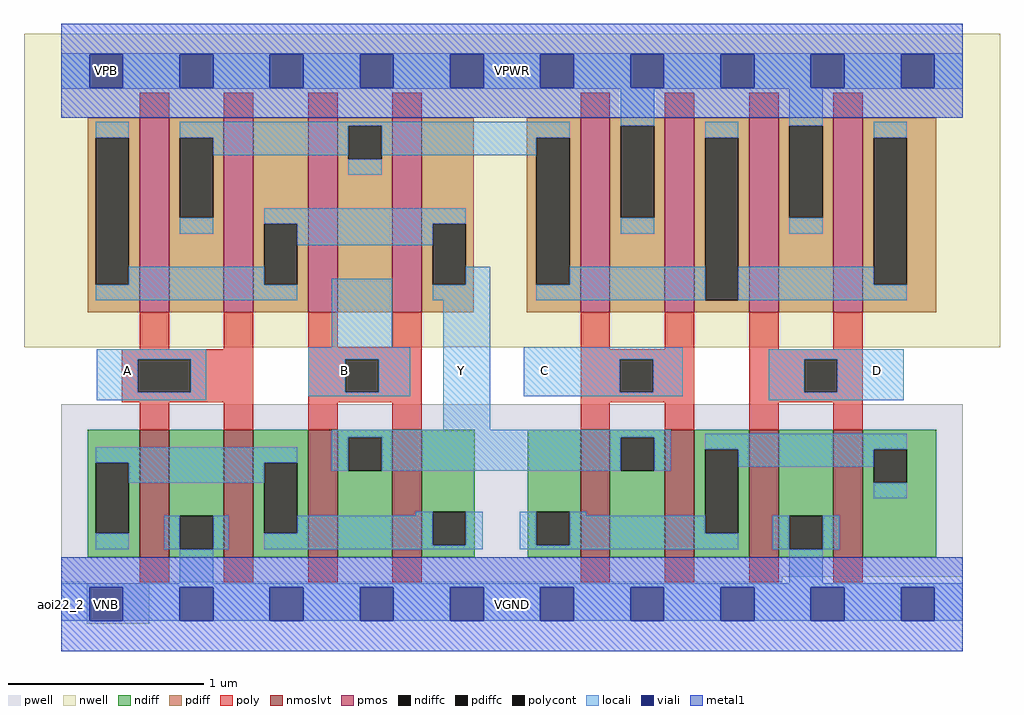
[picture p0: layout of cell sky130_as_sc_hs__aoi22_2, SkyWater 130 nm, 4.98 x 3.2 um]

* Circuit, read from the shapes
.subckt sky130_as_sc_hs__aoi22_2 VNB VPB VPWR VGND A B C D Y
XM1 VGND A n1 VNB sky130_fd_pr__nfet_01v8_lvt w=0.65 l=0.15 m=2
XM2 Y B n1 VNB sky130_fd_pr__nfet_01v8_lvt w=0.65 l=0.15 m=2
XM3 Y C n2 VNB sky130_fd_pr__nfet_01v8_lvt w=0.65 l=0.15 m=2
XM4 VGND D n2 VNB sky130_fd_pr__nfet_01v8_lvt w=0.65 l=0.15 m=2
XM5 n3 A Y VPB sky130_fd_pr__pfet_01v8 w=0.99 l=0.15 m=2
XM6 n3 B Y VPB sky130_fd_pr__pfet_01v8 w=0.99 l=0.15 m=2
XM7 VPWR C n3 VPB sky130_fd_pr__pfet_01v8 w=0.99 l=0.15 m=2
XM8 VPWR D n3 VPB sky130_fd_pr__pfet_01v8 w=0.99 l=0.15 m=2
.ends

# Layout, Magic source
magic
tech sky130A
magscale 1 2
<< nwell >>
rect -38 262 958 582
<< pwell >>
rect 0 28 920 204
rect 0 22 736 28
rect 26 -20 90 22
<< pmos >>
rect 80 298 110 496
rect 166 298 196 496
rect 252 298 282 496
rect 338 298 368 496
rect 530 298 560 496
rect 616 298 646 496
rect 702 298 732 496
rect 788 298 818 496
<< nmoslvt >>
rect 80 48 110 178
rect 166 48 196 178
rect 252 48 282 178
rect 338 48 368 178
rect 530 48 560 178
rect 616 48 646 178
rect 702 48 732 178
rect 788 48 818 178
<< ndiff >>
rect 27 144 80 178
rect 27 72 35 144
rect 69 72 80 144
rect 27 48 80 72
rect 110 90 166 178
rect 110 56 121 90
rect 155 56 166 90
rect 110 48 166 56
rect 196 144 252 178
rect 196 72 207 144
rect 241 72 252 144
rect 196 48 252 72
rect 282 170 338 178
rect 282 136 293 170
rect 327 136 338 170
rect 282 48 338 136
rect 368 94 422 178
rect 368 60 379 94
rect 413 60 422 94
rect 368 48 422 60
rect 476 94 530 178
rect 476 60 485 94
rect 519 60 530 94
rect 476 48 530 60
rect 560 170 616 178
rect 560 136 571 170
rect 605 136 616 170
rect 560 48 616 136
rect 646 158 702 178
rect 646 72 657 158
rect 691 72 702 158
rect 646 48 702 72
rect 732 90 788 178
rect 732 56 743 90
rect 777 56 788 90
rect 732 48 788 56
rect 818 158 893 178
rect 818 124 829 158
rect 863 124 893 158
rect 818 48 893 124
<< pdiff >>
rect 27 476 80 496
rect 27 326 35 476
rect 69 326 80 476
rect 27 298 80 326
rect 110 476 166 496
rect 110 394 121 476
rect 155 394 166 476
rect 110 298 166 394
rect 196 388 252 496
rect 196 326 207 388
rect 241 326 252 388
rect 196 298 252 326
rect 282 488 338 496
rect 282 454 293 488
rect 327 454 338 488
rect 282 298 338 454
rect 368 388 421 496
rect 368 326 379 388
rect 413 326 421 388
rect 368 298 421 326
rect 475 476 530 496
rect 475 326 485 476
rect 519 326 530 476
rect 475 298 530 326
rect 560 488 616 496
rect 560 394 571 488
rect 605 394 616 488
rect 560 298 616 394
rect 646 476 702 496
rect 646 310 657 476
rect 691 310 702 476
rect 646 298 702 310
rect 732 488 788 496
rect 732 394 743 488
rect 777 394 788 488
rect 732 298 788 394
rect 818 476 893 496
rect 818 326 829 476
rect 863 326 893 476
rect 818 298 893 326
<< ndiffc >>
rect 35 72 69 144
rect 121 56 155 90
rect 207 72 241 144
rect 293 136 327 170
rect 379 60 413 94
rect 485 60 519 94
rect 571 136 605 170
rect 657 72 691 158
rect 743 56 777 90
rect 829 124 863 158
<< pdiffc >>
rect 35 326 69 476
rect 121 394 155 476
rect 207 326 241 388
rect 293 454 327 488
rect 379 326 413 388
rect 485 326 519 476
rect 571 394 605 488
rect 657 310 691 476
rect 743 394 777 488
rect 829 326 863 476
<< poly >>
rect 80 496 110 522
rect 166 496 196 522
rect 252 496 282 522
rect 338 496 368 522
rect 530 496 560 522
rect 616 496 646 522
rect 702 496 732 522
rect 788 496 818 522
rect 80 260 110 298
rect 166 260 196 298
rect 62 250 196 260
rect 62 216 78 250
rect 132 216 196 250
rect 62 206 196 216
rect 80 178 110 206
rect 166 178 196 206
rect 252 262 282 298
rect 338 262 368 298
rect 252 250 368 262
rect 252 216 290 250
rect 324 216 368 250
rect 252 206 368 216
rect 252 178 282 206
rect 338 178 368 206
rect 530 260 560 298
rect 616 260 646 298
rect 530 250 646 260
rect 530 216 570 250
rect 604 216 646 250
rect 530 206 646 216
rect 530 178 560 206
rect 616 178 646 206
rect 702 260 732 298
rect 788 260 818 298
rect 702 250 818 260
rect 702 216 758 250
rect 792 216 818 250
rect 702 206 818 216
rect 702 178 732 206
rect 788 178 818 206
rect 80 22 110 48
rect 166 22 196 48
rect 252 22 282 48
rect 338 22 368 48
rect 530 22 560 48
rect 616 22 646 48
rect 702 22 732 48
rect 788 22 818 48
<< polycont >>
rect 78 216 132 250
rect 290 216 324 250
rect 570 216 604 250
rect 758 216 792 250
<< locali >>
rect 0 561 920 562
rect 0 527 29 561
rect 63 527 121 561
rect 155 527 213 561
rect 247 527 305 561
rect 339 527 397 561
rect 431 527 489 561
rect 523 527 581 561
rect 615 527 673 561
rect 707 527 765 561
rect 799 527 857 561
rect 891 527 920 561
rect 0 526 920 527
rect 35 476 69 492
rect 121 488 519 492
rect 121 476 293 488
rect 155 458 293 476
rect 327 476 519 488
rect 327 458 485 476
rect 293 438 327 454
rect 121 378 155 394
rect 207 388 413 404
rect 69 326 207 344
rect 241 366 379 388
rect 35 310 241 326
rect 276 262 338 332
rect 413 326 438 344
rect 379 310 438 326
rect 571 488 605 526
rect 571 378 605 394
rect 657 476 691 492
rect 519 326 657 344
rect 485 310 657 326
rect 743 488 777 526
rect 743 378 777 394
rect 829 476 863 492
rect 691 326 829 344
rect 691 310 863 326
rect 36 250 148 260
rect 36 216 78 250
rect 132 216 148 250
rect 36 208 148 216
rect 252 250 356 262
rect 252 216 290 250
rect 324 216 356 250
rect 252 212 356 216
rect 390 178 438 310
rect 472 250 634 262
rect 472 216 570 250
rect 604 216 634 250
rect 472 212 634 216
rect 722 250 860 260
rect 722 216 758 250
rect 792 216 860 250
rect 722 208 860 216
rect 276 170 622 178
rect 35 144 241 160
rect 69 124 207 144
rect 35 56 69 72
rect 105 56 121 90
rect 155 56 171 90
rect 276 136 293 170
rect 327 136 571 170
rect 605 136 622 170
rect 657 158 863 174
rect 362 90 379 94
rect 241 72 379 90
rect 207 60 379 72
rect 413 60 430 94
rect 207 56 430 60
rect 468 60 485 94
rect 519 90 536 94
rect 519 72 657 90
rect 691 140 829 158
rect 829 108 863 124
rect 519 60 691 72
rect 468 56 691 60
rect 726 56 743 90
rect 777 56 794 90
rect 121 21 155 56
rect 743 21 777 56
rect 0 17 920 21
rect 0 -17 29 17
rect 63 -17 121 17
rect 155 -17 213 17
rect 247 -17 305 17
rect 339 -17 397 17
rect 431 -17 489 17
rect 523 -17 581 17
rect 615 -17 673 17
rect 707 -17 765 17
rect 799 -17 857 17
rect 891 -17 920 17
<< viali >>
rect 29 527 63 561
rect 121 527 155 561
rect 213 527 247 561
rect 305 527 339 561
rect 397 527 431 561
rect 489 527 523 561
rect 581 527 615 561
rect 673 527 707 561
rect 765 527 799 561
rect 857 527 891 561
rect 29 -17 63 17
rect 121 -17 155 17
rect 213 -17 247 17
rect 305 -17 339 17
rect 397 -17 431 17
rect 489 -17 523 17
rect 581 -17 615 17
rect 673 -17 707 17
rect 765 -17 799 17
rect 857 -17 891 17
<< metal1 >>
rect 0 561 920 592
rect 0 527 29 561
rect 63 527 121 561
rect 155 527 213 561
rect 247 527 305 561
rect 339 527 397 561
rect 431 527 489 561
rect 523 527 581 561
rect 615 527 673 561
rect 707 527 765 561
rect 799 527 857 561
rect 891 527 920 561
rect 0 496 920 527
rect 0 17 920 48
rect 0 -17 29 17
rect 63 -17 121 17
rect 155 -17 213 17
rect 247 -17 305 17
rect 339 -17 397 17
rect 431 -17 489 17
rect 523 -17 581 17
rect 615 -17 673 17
rect 707 -17 765 17
rect 799 -17 857 17
rect 891 -17 920 17
rect 0 -48 920 -17
<< labels >>
rlabel comment s 0 0 0 0 4 aoi22_2
flabel pwell s 29 -17 63 17 0 FreeSans 200 0 0 0 VNB
port 1 nsew ground bidirectional
flabel pwell s 46 0 46 0 0 FreeSans 200 0 0 0 VNB
flabel nwell s 29 527 63 561 0 FreeSans 200 0 0 0 VPB
port 2 nsew power bidirectional
flabel nwell s 46 544 46 544 0 FreeSans 200 0 0 0 VPB
flabel metal1 s 29 527 63 561 0 FreeSans 200 0 0 0 VPWR
port 3 nsew power bidirectional abutment
flabel metal1 s 29 -17 63 17 0 FreeSans 200 0 0 0 VGND
port 4 nsew ground bidirectional abutment
rlabel metal1 s 0 -48 920 48 1 VGND
port 4 nsew ground bidirectional abutment
rlabel metal1 s 0 496 920 592 1 VPWR
port 3 nsew power bidirectional abutment
flabel locali s 51 221 85 255 0 FreeSans 200 0 0 0 A
port 5 nsew signal input
flabel locali s 68 238 68 238 0 FreeSans 200 0 0 0 A
flabel locali s 272 221 306 255 0 FreeSans 200 0 0 0 B
port 6 nsew signal input
flabel locali s 289 238 289 238 0 FreeSans 200 0 0 0 B
flabel locali s 476 221 510 255 0 FreeSans 200 0 0 0 C
port 7 nsew signal input
flabel locali s 493 238 493 238 0 FreeSans 200 0 0 0 C
flabel locali s 816 221 850 255 0 FreeSans 200 0 0 0 D
port 8 nsew signal input
flabel locali s 833 238 833 238 0 FreeSans 200 0 0 0 D
flabel locali s 391 221 425 255 0 FreeSans 200 0 0 0 Y
port 9 nsew signal output
flabel locali s 408 238 408 238 0 FreeSans 200 0 0 0 Y
<< properties >>
string FIXED_BBOX 0 0 920 544
string GDS_FILE $PDKPATH/libs.ref/sky130_as_sc_hs/gds/sky130_as_sc_hs__aoi22_2.gds
string LEFclass CORE
string LEFsite unithd
string LEFsymmetry X Y R90
string MASKHINTS_LVTN 0 -4 920 220
string MASKHINTS_NSDM 0 -38 920 209
string MASKHINTS_PSDM 0 273 920 582
<< end >>
